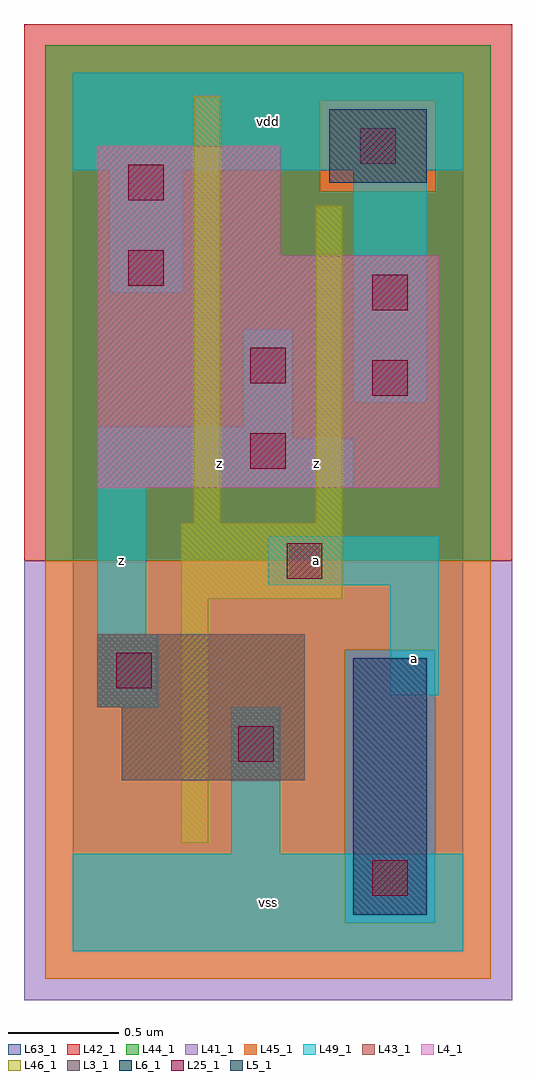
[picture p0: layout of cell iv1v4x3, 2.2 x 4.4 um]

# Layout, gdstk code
import gdstk
lib = gdstk.Library(unit=1e-6, precision=1e-09)
def R(c, l, rs):  # rectangles x0, y0, x1, y1
    for r in rs: c.add(gdstk.rectangle(r[:2], r[2:], *l))
L3_1 = (3, 1)
L4_1 = (4, 1)
L5_1 = (5, 1)
L6_1 = (6, 1)
L25_1 = (25, 1)
L41_1 = (41, 1)
L42_1 = (42, 1)
L43_1 = (43, 1)
L44_1 = (44, 1)
L45_1 = (45, 1)
L46_1 = (46, 1)
L49_1 = (49, 1)
L63_1 = (63, 1)

iv1v4x3 = lib.new_cell('iv1v4x3')
R(iv1v4x3, L3_1, [(0.22,0.77,1.045,1.1), (0.11,1.1,1.045,1.43)])
R(iv1v4x3, L4_1, [(0.11,2.09,1.65,3.135), (0.11,3.135,0.935,3.63)])
R(iv1v4x3, L5_1, [(1.155,3.465,1.595,3.795)])
R(iv1v4x3, L6_1, [(1.265,0.165,1.595,1.32)])
R(iv1v4x3, L25_1, [(1.35,0.25,1.51,0.41), (0.745,0.855,0.905,1.015), (0.195,1.185,0.355,1.345), (0.965,1.68,1.125,1.84), (0.8,2.175,0.96,2.335), (1.35,2.505,1.51,2.665), (0.8,2.56,0.96,2.72), (1.35,2.89,1.51,3.05), (0.25,3,0.41,3.16), (0.25,3.385,0.41,3.545), (1.295,3.55,1.455,3.71)])
R(iv1v4x3, L41_1, [(-0.22,-0.22,1.98,1.76)])
R(iv1v4x3, L42_1, [(-0.22,1.76,1.98,4.18)])
R(iv1v4x3, L43_1, [(1.265,0.165,1.595,1.32), (0.22,0.77,1.045,1.1), (0.11,1.1,1.045,1.43), (0.11,2.09,1.65,3.135), (0.11,3.135,0.935,3.63), (1.155,3.465,1.595,3.795)])
R(iv1v4x3, L44_1, [(1.225,0.125,1.635,1.36), (-0.125,1.76,1.885,3.425), (-0.125,3.425,1.115,3.835), (1.635,3.425,1.885,3.835), (-0.125,3.835,1.885,4.085)])
R(iv1v4x3, L45_1, [(-0.125,-0.125,1.885,0.125), (-0.125,0.125,1.225,1.36), (1.635,0.125,1.885,1.36), (-0.125,1.36,1.885,1.76), (1.115,3.425,1.635,3.835)])
R(iv1v4x3, L46_1, [(0.49,0.49,0.61,1.59), (0.49,1.59,1.215,1.93), (0.545,1.93,0.665,3.855), (1.095,1.93,1.215,3.36)])
R(iv1v4x3, L49_1, [(0,0,1.76,0.44), (0.715,0.44,0.935,1.1), (0.11,1.1,0.385,1.43), (1.43,1.155,1.65,1.65), (0.11,1.43,0.33,2.09), (0.88,1.65,1.65,1.87), (0.11,2.09,1.265,2.31), (0.11,2.31,0.99,2.365), (0.77,2.365,0.99,2.805), (1.265,2.475,1.595,3.52), (0.165,2.97,0.495,3.52), (0,3.52,1.76,3.96)])
R(iv1v4x3, L63_1, [(0,0,1.76,3.96)])
iv1v4x3.add(gdstk.Label('z', (0.22,1.76), layer=49, texttype=1))
iv1v4x3.add(gdstk.Label('z', (0.66,2.2), layer=49, texttype=1))
iv1v4x3.add(gdstk.Label('vss', (0.88,0.22), layer=49, texttype=1))
iv1v4x3.add(gdstk.Label('a', (1.1,1.76), layer=49, texttype=1))
iv1v4x3.add(gdstk.Label('z', (1.1,2.2), layer=49, texttype=1))
iv1v4x3.add(gdstk.Label('vdd', (0.88,3.74), layer=49, texttype=1))
iv1v4x3.add(gdstk.Label('a', (1.54,1.32), layer=49, texttype=1))

lib.write_gds('iv1v4x3.gds')
